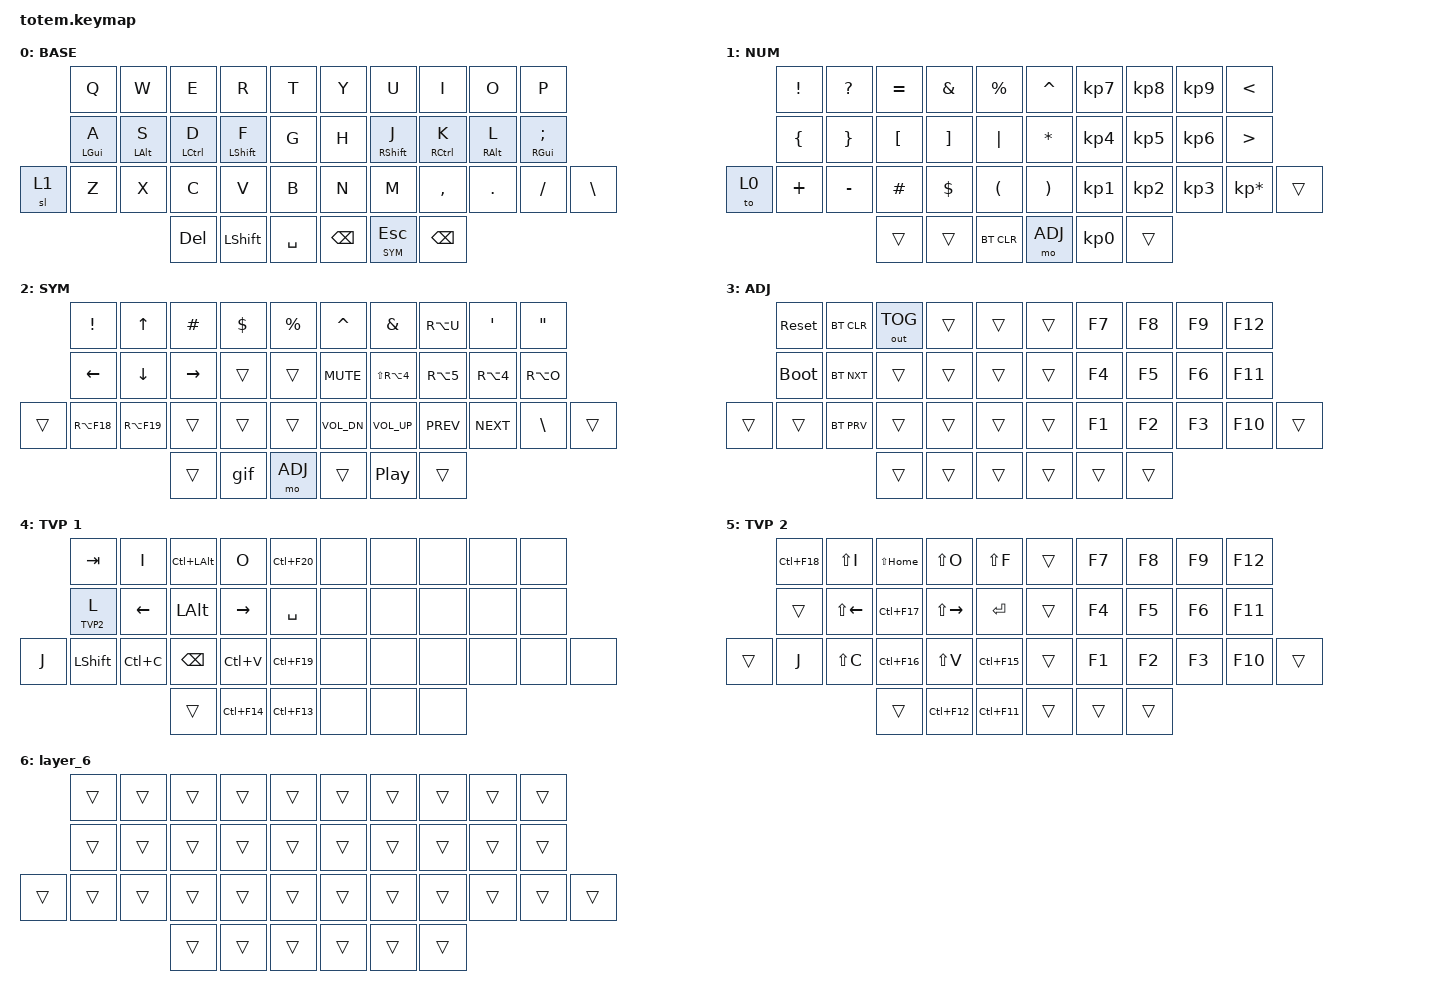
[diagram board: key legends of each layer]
//
//                                                        ▀▀▀▀▀     ▀▀▀▀▀          ▀▀█▀▀
//                                                        ▄▀▀▀▄  ▄  ▄▀▀▀▄  ▄  ▄▀▀▀▄  █  ▄▀▀▀▄
//                                                        █   █  █  █   █  █  █   █  █  █   █
//                                                         ▀▀▀   █   ▀▀▀   █   ▀▀▀   ▀   ▀▀▀
//                                                               █      ▄▄▄█▄▄▄    █   █  
//                                                               ▀      █  █  █     █▄█
//                                                             ▀▀▀▀▀    █  █  █      ▀
//                                                                      ▀  ▀  ▀
//
// ▄▄▄▄▄▄▄▄▄▄▄▄▄▄▄▄▄▄▄▄▄▄▄▄▄▄▄▄▄▄▄▄▄▄▄▄▄▄▄▄▄▄▄▄▄▄▄▄▄▄▄▄▄▄▄▄▄▄▄▄▄▄▄▄▄▄▄▄▄▄▄▄▄▄▄▄▄▄▄▄▄▄▄▄▄▄▄▄▄▄▄▄▄▄▄▄▄▄▄▄▄▄▄▄▄▄▄▄▄▄▄▄▄▄▄▄▄▄▄▄▄▄▄▄▄▄▄▄▄▄▄▄▄▄▄▄▄▄▄▄▄▄▄▄▄▄▄▄▄

#include <behaviors.dtsi>
#include <dt-bindings/zmk/bt.h>
#include <dt-bindings/zmk/keys.h>
#include <dt-bindings/zmk/outputs.h>

#define BASE 0
#define NAV  1
#define SYM  2
#define ADJ  3
#define TVP1 4
#define TVP2 5

&mt {
    quick-tap-ms = <100>;
    global-quick-tap;
    flavor = "tap-preferred";
    tapping-term-ms = <170>;
};

/ {
    combos {
        compatible = "zmk,combos";

        combo_esc {
            timeout-ms = <50>;
            key-positions = <0 1>;
            bindings = <&kp ESC>;
        };

        combo_tvp {
            timeout-ms = <100>;
            key-positions = <16 17 18>;
            bindings = <&kp ENTER>;
        };

        double_q {
            bindings = <&kp DOUBLE_QUOTES>;
            key-positions = <5 6>;
        };

        string_symbol {
            bindings = <&kp SQT>;
            key-positions = <6 7>;
        };

        tab {
            bindings = <&kp TAB>;
            key-positions = <1 2>;
        };
    };

    macros {
        gif: gif {
            label = "giphy";
            compatible = "zmk,behavior-macro";
            #binding-cells = <0>;
            bindings =
                <&macro_press>,
                <&kp LSHFT>,
                <&macro_tap>,
                <&kp N2>,
                <&macro_release>,
                <&kp LSHFT>,
                <&macro_tap>,
                <&kp G &kp I &kp F>;
        };
    };

    keymap {
        compatible = "zmk,keymap";

        // ▄▄▄▄▄▄▄▄▄▄▄▄▄▄▄▄▄▄▄▄▄▄▄▄▄▄▄▄▄▄▄▄▄▄▄▄▄▄▄▄▄▄▄▄▄▄▄▄▄▄▄▄▄▄▄▄▄▄▄▄▄▄▄▄▄▄▄▄▄▄▄▄▄▄▄▄▄▄▄▄▄▄▄▄▄▄▄▄▄▄▄▄▄▄▄▄▄▄▄▄▄▄▄▄▄▄▄▄▄▄▄▄▄▄▄▄▄▄▄▄▄▄▄▄▄▄▄▄▄▄▄▄▄▄▄▄▄▄▄▄▄▄▄▄▄▄▄▄▄

        base_layer {
            // ┏━━━━━━━━━━━━━━━━━━━━━━━━━━━━━━━━━━━━━━━┓

            label = "BASE";

            // ┗━━━━━━━━━━━━━━━━━━━━━━━━━━━━━━━━━━━━━━━┛
            //             ┏━━━━━━━━━━━┳━━━━━━━━━━━┳━━━━━━━━━━━┳━━━━━━━━━━━┳━━━━━━━━━━━┓   ┏━━━━━━━━━━━┳━━━━━━━━━━━┳━━━━━━━━━━━┳━━━━━━━━━━━┳━━━━━━━━━━━┓
            //             ┃     Q     ┃     W     ┃     F     ┃     P     ┃     G     ┃   ┃     J     ┃     L     ┃     U     ┃     Y     ┃     ;     ┃
            //             ┣━━━━━━━━━━━╋━━━━━━━━━━━╋━━━━━━━━━━━╋━━━━━━━━━━━╋━━━━━━━━━━━┫   ┣━━━━━━━━━━━╋━━━━━━━━━━━╋━━━━━━━━━━━╋━━━━━━━━━━━╋━━━━━━━━━━━┫
            //             ┃     A     ┃     R     ┃     S     ┃     T     ┃     D     ┃   ┃     H     ┃     N     ┃     E     ┃     I     ┃     O     ┃
            // ┏━━━━━━━━━━━╋━━━━━━━━━━━╋━━━━━━━━━━━╋━━━━━━━━━━━╋━━━━━━━━━━━╋━━━━━━━━━━━┫   ┣━━━━━━━━━━━╋━━━━━━━━━━━╋━━━━━━━━━━━╋━━━━━━━━━━━╋━━━━━━━━━━━╋━━━━━━━━━━━┓
            // ┃     Q     ┃     Z     ┃     X     ┃     C     ┃     V     ┃     B     ┃   ┃     K     ┃     M     ┃     ,     ┃     .     ┃     /     ┃     \     ┃
            // ┗━━━━━━━━━━━┻━━━━━━━━━━━┻━━━━━━━━━━━╋━━━━━━━━━━━╋━━━━━━━━━━━╋━━━━━━━━━━━┫   ┣━━━━━━━━━━━╋━━━━━━━━━━━╋━━━━━━━━━━━╋━━━━━━━━━━━┻━━━━━━━━━━━┻━━━━━━━━━━━┛
            //                                     ┃    DEL    ┃    TAB    ┃    SPC    ┃   ┃   ENTER   ┃           ┃   BSPC    ┃
            //                                     ┗━━━━━━━━━━━┻━━━━━━━━━━━┻━━━━━━━━━━━┛   ┗━━━━━━━━━━━┻━━━━━━━━━━━┻━━━━━━━━━━━┛

            bindings = <
       &kp Q       &kp W       &kp E        &kp R           &kp T        &kp Y          &kp U        &kp I        &kp O       &kp P
       &mt LGUI A  &mt LALT S  &mt LCTRL D  &mt LSHFT F     &kp G        &kp H          &mt RSHFT J  &mt RCTRL K  &mt RALT L  &mt RGUI SEMICOLON
&sl 1  &kp Z       &kp X       &kp C        &kp V           &kp B        &kp N          &kp M        &kp COMMA    &kp DOT     &kp FSLH            &kp BSLH
                               &kp DEL      &kp LEFT_SHIFT  &kp SPACE    &kp BACKSPACE  &lt SYM ESC  &kp BSPC
            >;
        };

        // ▄▄▄▄▄▄▄▄▄▄▄▄▄▄▄▄▄▄▄▄▄▄▄▄▄▄▄▄▄▄▄▄▄▄▄▄▄▄▄▄▄▄▄▄▄▄▄▄▄▄▄▄▄▄▄▄▄▄▄▄▄▄▄▄▄▄▄▄▄▄▄▄▄▄▄▄▄▄▄▄▄▄▄▄▄▄▄▄▄▄▄▄▄▄▄▄▄▄▄▄▄▄▄▄▄▄▄▄▄▄▄▄▄▄▄▄▄▄▄▄▄▄▄▄▄▄▄▄▄▄▄▄▄▄▄▄▄▄▄▄▄▄▄▄▄▄▄▄▄

        num_layer {
            // ┏━━━━━━━━━━━━━━━━━━━━━━━━━━━━━━━━━━━━━━━┓

            label = "NUM";

            // ┗━━━━━━━━━━━━━━━━━━━━━━━━━━━━━━━━━━━━━━━┛
            //             ┏━━━━━━━━━━━┳━━━━━━━━━━━┳━━━━━━━━━━━┳━━━━━━━━━━━┳━━━━━━━━━━━┓   ┏━━━━━━━━━━━┳━━━━━━━━━━━┳━━━━━━━━━━━┳━━━━━━━━━━━┳━━━━━━━━━━━┓
            //             ┃           ┃           ┃     UP    ┃           ┃     {     ┃   ┃     }     ┃     7     ┃     8     ┃     9     ┃     +     ┃
            //             ┣━━━━━━━━━━━╋━━━━━━━━━━━╋━━━━━━━━━━━╋━━━━━━━━━━━╋━━━━━━━━━━━┫   ┣━━━━━━━━━━━╋━━━━━━━━━━━╋━━━━━━━━━━━╋━━━━━━━━━━━╋━━━━━━━━━━━┫
            //             ┃   SHIFT   ┃   LEFT    ┃    DOWN   ┃   RIGHT   ┃     [     ┃   ┃     ]     ┃     4     ┃     5     ┃     6     ┃     -     ┃
            // ┏━━━━━━━━━━━╋━━━━━━━━━━━╋━━━━━━━━━━━╋━━━━━━━━━━━╋━━━━━━━━━━━╋━━━━━━━━━━━┫   ┣━━━━━━━━━━━╋━━━━━━━━━━━╋━━━━━━━━━━━╋━━━━━━━━━━━╋━━━━━━━━━━━╋━━━━━━━━━━━┓
            // ┃           ┃           ┃   P UP    ┃  C LOCK   ┃  P DOWN   ┃     (     ┃   ┃     )     ┃     1     ┃     2     ┃     3     ┃     *     ┃           ┃
            // ┗━━━━━━━━━━━┻━━━━━━━━━━━┻━━━━━━━━━━━╋━━━━━━━━━━━╋━━━━━━━━━━━╋━━━━━━━━━━━┫   ┣━━━━━━━━━━━╋━━━━━━━━━━━╋━━━━━━━━━━━╋━━━━━━━━━━━┻━━━━━━━━━━━┻━━━━━━━━━━━┛
            //                                     ┃           ┃    TAB    ┃    SPC    ┃   ┃    DEL    ┃     0     ┃           ┃
            //                                     ┗━━━━━━━━━━━┻━━━━━━━━━━━┻━━━━━━━━━━━┛   ┗━━━━━━━━━━━┻━━━━━━━━━━━┻━━━━━━━━━━━┛

            bindings = <
       &kp EXCLAMATION  &kp QUESTION     &kp EQUAL         &kp AMPERSAND      &kp PERCENT    &kp CARET     &kp KP_N7  &kp KP_N8  &kp KP_N9  &kp LESS_THAN
       &kp LEFT_BRACE   &kp RIGHT_BRACE  &kp LEFT_BRACKET  &kp RIGHT_BRACKET  &kp PIPE       &kp ASTERISK  &kp KP_N4  &kp KP_N5  &kp KP_N6  &kp GREATER_THAN
&to 0  &kp PLUS         &kp MINUS        &kp HASH          &kp DOLLAR         &kp LPAR       &kp RPAR      &kp KP_N1  &kp KP_N2  &kp KP_N3  &kp KP_MULTIPLY   &trans
                                         &trans            &trans             &bt BT_CLR     &mo ADJ       &kp KP_N0  &trans
            >;
        };

        // ▄▄▄▄▄▄▄▄▄▄▄▄▄▄▄▄▄▄▄▄▄▄▄▄▄▄▄▄▄▄▄▄▄▄▄▄▄▄▄▄▄▄▄▄▄▄▄▄▄▄▄▄▄▄▄▄▄▄▄▄▄▄▄▄▄▄▄▄▄▄▄▄▄▄▄▄▄▄▄▄▄▄▄▄▄▄▄▄▄▄▄▄▄▄▄▄▄▄▄▄▄▄▄▄▄▄▄▄▄▄▄▄▄▄▄▄▄▄▄▄▄▄▄▄▄▄▄▄▄▄▄▄▄▄▄▄▄▄▄▄▄▄▄▄▄▄▄▄▄

        sim_layer {
            // ┏━━━━━━━━━━━━━━━━━━━━━━━━━━━━━━━━━━━━━━━┓

            label = "SYM";

            // ┗━━━━━━━━━━━━━━━━━━━━━━━━━━━━━━━━━━━━━━━┛
            //             ┏━━━━━━━━━━━┳━━━━━━━━━━━┳━━━━━━━━━━━┳━━━━━━━━━━━┳━━━━━━━━━━━┓   ┏━━━━━━━━━━━┳━━━━━━━━━━━┳━━━━━━━━━━━┳━━━━━━━━━━━┳━━━━━━━━━━━┓
            //             ┃     !     ┃     @     ┃     #     ┃     $     ┃     %     ┃   ┃     ˆ     ┃     &     ┃     Ü     ┃     '     ┃     "     ┃
            //             ┣━━━━━━━━━━━╋━━━━━━━━━━━╋━━━━━━━━━━━╋━━━━━━━━━━━╋━━━━━━━━━━━┫   ┣━━━━━━━━━━━╋━━━━━━━━━━━╋━━━━━━━━━━━╋━━━━━━━━━━━╋━━━━━━━━━━━┫
            //             ┃     Ä     ┃           ┃    SZ     ┃           ┃           ┃   ┃   MUTE    ┃   YEN     ┃   EURO    ┃  POUND    ┃     Ö     ┃
            // ┏━━━━━━━━━━━╋━━━━━━━━━━━╋━━━━━━━━━━━╋━━━━━━━━━━━╋━━━━━━━━━━━╋━━━━━━━━━━━┫   ┣━━━━━━━━━━━╋━━━━━━━━━━━╋━━━━━━━━━━━╋━━━━━━━━━━━╋━━━━━━━━━━━╋━━━━━━━━━━━┓
            // ┃           ┃  EMAIL1   ┃  EMAIL2   ┃           ┃           ┃           ┃   ┃   VOL-    ┃   VOL+    ┃   LAST    ┃   NEXT    ┃     \     ┃           ┃
            // ┗━━━━━━━━━━━┻━━━━━━━━━━━┻━━━━━━━━━━━╋━━━━━━━━━━━╋━━━━━━━━━━━╋━━━━━━━━━━━┫   ┣━━━━━━━━━━━╋━━━━━━━━━━━╋━━━━━━━━━━━╋━━━━━━━━━━━┻━━━━━━━━━━━┻━━━━━━━━━━━┛
            //                                     ┃           ┃    GIF    ┃    ADJ    ┃   ┃           ┃           ┃           ┃
            //                                     ┗━━━━━━━━━━━┻━━━━━━━━━━━┻━━━━━━━━━━━┛   ┗━━━━━━━━━━━┻━━━━━━━━━━━┻━━━━━━━━━━━┛

            bindings = <
        &kp EXCL     &kp UP_ARROW  &kp HASH   &kp DLLR  &kp PRCNT    &kp CARET     &kp AMPS        &kp RA(U)   &kp SQT     &kp DQT
        &kp LEFT     &kp DOWN      &kp RIGHT  &trans    &trans       &kp C_MUTE    &kp LS(RA(N4))  &kp RA(N5)  &kp RA(N4)  &kp RA(O)
&trans  &kp RA(F18)  &kp RA(F19)   &trans     &trans    &trans       &kp C_VOL_DN  &kp C_VOL_UP    &kp C_PREV  &kp C_NEXT  &kp BSLH   &trans
                                   &trans     &gif      &mo ADJ      &trans        &kp C_PP        &trans
            >;
        };

        // ▄▄▄▄▄▄▄▄▄▄▄▄▄▄▄▄▄▄▄▄▄▄▄▄▄▄▄▄▄▄▄▄▄▄▄▄▄▄▄▄▄▄▄▄▄▄▄▄▄▄▄▄▄▄▄▄▄▄▄▄▄▄▄▄▄▄▄▄▄▄▄▄▄▄▄▄▄▄▄▄▄▄▄▄▄▄▄▄▄▄▄▄▄▄▄▄▄▄▄▄▄▄▄▄▄▄▄▄▄▄▄▄▄▄▄▄▄▄▄▄▄▄▄▄▄▄▄▄▄▄▄▄▄▄▄▄▄▄▄▄▄▄▄▄▄▄▄▄▄

        adjust_layer {
            // ┏━━━━━━━━━━━━━━━━━━━━━━━━━━━━━━━━━━━━━━━┓

            label = "ADJ";

            // ┗━━━━━━━━━━━━━━━━━━━━━━━━━━━━━━━━━━━━━━━┛
            //             ┏━━━━━━━━━━━┳━━━━━━━━━━━┳━━━━━━━━━━━┳━━━━━━━━━━━┳━━━━━━━━━━━┓   ┏━━━━━━━━━━━┳━━━━━━━━━━━┳━━━━━━━━━━━┳━━━━━━━━━━━┳━━━━━━━━━━━┓
            //             ┃   RESET   ┃ BT CLEAR  ┃  OUT TOG  ┃           ┃           ┃   ┃           ┃    F7     ┃    F8     ┃    F9     ┃    F12    ┃
            //             ┣━━━━━━━━━━━╋━━━━━━━━━━━╋━━━━━━━━━━━╋━━━━━━━━━━━╋━━━━━━━━━━━┫   ┣━━━━━━━━━━━╋━━━━━━━━━━━╋━━━━━━━━━━━╋━━━━━━━━━━━╋━━━━━━━━━━━┫
            //             ┃ BOOTLOAD  ┃ BT NEXT   ┃           ┃           ┃           ┃   ┃           ┃    F4     ┃    F5     ┃    F6     ┃    F11    ┃
            // ┏━━━━━━━━━━━╋━━━━━━━━━━━╋━━━━━━━━━━━╋━━━━━━━━━━━╋━━━━━━━━━━━╋━━━━━━━━━━━┫   ┣━━━━━━━━━━━╋━━━━━━━━━━━╋━━━━━━━━━━━╋━━━━━━━━━━━╋━━━━━━━━━━━╋━━━━━━━━━━━┓
            // ┃           ┃           ┃ BT PREV   ┃           ┃           ┃           ┃   ┃           ┃    F1     ┃    F2     ┃    F3     ┃    F10    ┃           ┃
            // ┗━━━━━━━━━━━┻━━━━━━━━━━━┻━━━━━━━━━━━╋━━━━━━━━━━━╋━━━━━━━━━━━╋━━━━━━━━━━━┫   ┣━━━━━━━━━━━╋━━━━━━━━━━━╋━━━━━━━━━━━╋━━━━━━━━━━━┻━━━━━━━━━━━┻━━━━━━━━━━━┛
            //                                     ┃           ┃           ┃           ┃   ┃           ┃           ┃           ┃
            //                                     ┗━━━━━━━━━━━┻━━━━━━━━━━━┻━━━━━━━━━━━┛   ┗━━━━━━━━━━━┻━━━━━━━━━━━┻━━━━━━━━━━━┛

            bindings = <
        &sys_reset   &bt BT_CLR  &out OUT_TOG  &trans  &trans    &trans  &kp F7  &kp F8  &kp F9  &kp F12
        &bootloader  &bt BT_NXT  &trans        &trans  &trans    &trans  &kp F4  &kp F5  &kp F6  &kp F11
&trans  &trans       &bt BT_PRV  &trans        &trans  &trans    &trans  &kp F1  &kp F2  &kp F3  &kp F10  &trans
                                 &trans        &trans  &trans    &trans  &trans  &trans
            >;
        };

        // ▄▄▄▄▄▄▄▄▄▄▄▄▄▄▄▄▄▄▄▄▄▄▄▄▄▄▄▄▄▄▄▄▄▄▄▄▄▄▄▄▄▄▄▄▄▄▄▄▄▄▄▄▄▄▄▄▄▄▄▄▄▄▄▄▄▄▄▄▄▄▄▄▄▄▄▄▄▄▄▄▄▄▄▄▄▄▄▄▄▄▄▄▄▄▄▄▄▄▄▄▄▄▄▄▄▄▄▄▄▄▄▄▄▄▄▄▄▄▄▄▄▄▄▄▄▄▄▄▄▄▄▄▄▄▄▄▄▄▄▄▄▄▄▄▄▄▄▄▄

        tvp1_layer {
            // ┏━━━━━━━━━━━━━━━━━━━━━━━━━━━━━━━━━━━━━━━┓

            label = "TVP 1";

            // ┗━━━━━━━━━━━━━━━━━━━━━━━━━━━━━━━━━━━━━━━┛
            //             ┏━━━━━━━━━━━┳━━━━━━━━━━━┳━━━━━━━━━━━┳━━━━━━━━━━━┳━━━━━━━━━━━┓   ┏━━━━━━━━━━━┳━━━━━━━━━━━┳━━━━━━━━━━━┳━━━━━━━━━━━┳━━━━━━━━━━━┓
            //             ┃ NEXT FILE ┃ MARK IN   ┃ ROTATE    ┃ MARK OUT  ┃ SHOW SNAP ┃   ┃           ┃           ┃           ┃           ┃           ┃
            //             ┣━━━━━━━━━━━╋━━━━━━━━━━━╋━━━━━━━━━━━╋━━━━━━━━━━━╋━━━━━━━━━━━┫   ┣━━━━━━━━━━━╋━━━━━━━━━━━╋━━━━━━━━━━━╋━━━━━━━━━━━╋━━━━━━━━━━━┫
            //             ┃ TVP II    ┃ LEFT      ┃ PAN       ┃ RIGHT     ┃ PLAY/FLIP ┃   ┃           ┃           ┃           ┃           ┃           ┃
            // ┏━━━━━━━━━━━╋━━━━━━━━━━━╋━━━━━━━━━━━╋━━━━━━━━━━━╋━━━━━━━━━━━╋━━━━━━━━━━━┫   ┣━━━━━━━━━━━╋━━━━━━━━━━━╋━━━━━━━━━━━╋━━━━━━━━━━━╋━━━━━━━━━━━╋━━━━━━━━━━━┓
            // ┃ FULLSCR   ┃ SHIFT     ┃ COPY      ┃ DELETE    ┃ PASTE     ┃ IMG MARK  ┃   ┃           ┃           ┃           ┃           ┃           ┃           ┃
            // ┗━━━━━━━━━━━┻━━━━━━━━━━━┻━━━━━━━━━━━╋━━━━━━━━━━━╋━━━━━━━━━━━╋━━━━━━━━━━━┫   ┣━━━━━━━━━━━╋━━━━━━━━━━━╋━━━━━━━━━━━╋━━━━━━━━━━━┻━━━━━━━━━━━┻━━━━━━━━━━━┛
            //                                     ┃           ┃ UNDO/SAVE ┃  SEL/MOV  ┃   ┃           ┃           ┃           ┃
            //                                     ┗━━━━━━━━━━━┻━━━━━━━━━━━┻━━━━━━━━━━━┛   ┗━━━━━━━━━━━┻━━━━━━━━━━━┻━━━━━━━━━━━┛

            bindings = <
       &kp TAB     &kp I      &kp LC(LALT)  &kp O        &kp LC(F20)    &none  &none  &none  &none  &none
       &lt TVP2 L  &kp LEFT   &kp LALT      &kp RIGHT    &kp SPACE      &none  &none  &none  &none  &none
&kp J  &kp LSHFT   &kp LC(C)  &kp BSPC      &kp LC(V)    &kp LC(F19)    &none  &none  &none  &none  &none  &none
                              &trans        &kp LC(F14)  &kp LC(F13)    &none  &none  &none
            >;
        };

        // ▄▄▄▄▄▄▄▄▄▄▄▄▄▄▄▄▄▄▄▄▄▄▄▄▄▄▄▄▄▄▄▄▄▄▄▄▄▄▄▄▄▄▄▄▄▄▄▄▄▄▄▄▄▄▄▄▄▄▄▄▄▄▄▄▄▄▄▄▄▄▄▄▄▄▄▄▄▄▄▄▄▄▄▄▄▄▄▄▄▄▄▄▄▄▄▄▄▄▄▄▄▄▄▄▄▄▄▄▄▄▄▄▄▄▄▄▄▄▄▄▄▄▄▄▄▄▄▄▄▄▄▄▄▄▄▄▄▄▄▄▄▄▄▄▄▄▄▄▄

        tvp2_layer {
            // ┏━━━━━━━━━━━━━━━━━━━━━━━━━━━━━━━━━━━━━━━┓

            label = "TVP 2";

            // ┗━━━━━━━━━━━━━━━━━━━━━━━━━━━━━━━━━━━━━━━┛
            //             ┏━━━━━━━━━━━┳━━━━━━━━━━━┳━━━━━━━━━━━┳━━━━━━━━━━━┳━━━━━━━━━━━┓   ┏━━━━━━━━━━━┳━━━━━━━━━━━┳━━━━━━━━━━━┳━━━━━━━━━━━┳━━━━━━━━━━━┓
            //             ┃ SOLO      ┃ TOGGLE IN ┃ RESET ROT ┃ TOGGLE OUT┃ TAKE SNAP ┃   ┃           ┃           ┃           ┃           ┃           ┃
            //             ┣━━━━━━━━━━━╋━━━━━━━━━━━╋━━━━━━━━━━━╋━━━━━━━━━━━╋━━━━━━━━━━━┫   ┣━━━━━━━━━━━╋━━━━━━━━━━━╋━━━━━━━━━━━╋━━━━━━━━━━━╋━━━━━━━━━━━┫
            //             ┃ ---       ┃ LAST KEY  ┃ NEW KEY   ┃ NEXT KEY  ┃ ENTER     ┃   ┃           ┃           ┃           ┃           ┃           ┃
            // ┏━━━━━━━━━━━╋━━━━━━━━━━━╋━━━━━━━━━━━╋━━━━━━━━━━━╋━━━━━━━━━━━╋━━━━━━━━━━━┫   ┣━━━━━━━━━━━╋━━━━━━━━━━━╋━━━━━━━━━━━╋━━━━━━━━━━━╋━━━━━━━━━━━╋━━━━━━━━━━━┓
            // ┃           ┃ FULLSCR   ┃ CPY2BRUSH ┃ DEL HEAD  ┃ PSTinPLACE┃ BOOK MARK ┃   ┃           ┃           ┃           ┃           ┃           ┃           ┃
            // ┗━━━━━━━━━━━┻━━━━━━━━━━━┻━━━━━━━━━━━╋━━━━━━━━━━━╋━━━━━━━━━━━╋━━━━━━━━━━━┫   ┣━━━━━━━━━━━╋━━━━━━━━━━━╋━━━━━━━━━━━╋━━━━━━━━━━━┻━━━━━━━━━━━┻━━━━━━━━━━━┛
            //                                     ┃           ┃ REDO/SAV1 ┃TRANS/WARP ┃   ┃           ┃           ┃           ┃
            //                                     ┗━━━━━━━━━━━┻━━━━━━━━━━━┻━━━━━━━━━━━┛   ┗━━━━━━━━━━━┻━━━━━━━━━━━┻━━━━━━━━━━━┛

            bindings = <
        &kp LC(F18)  &kp LS(I)     &kp LS(HOME)  &kp LS(O)      &kp LS(F)      &trans  &kp F7  &kp F8  &kp F9  &kp F12
        &trans       &kp LS(LEFT)  &kp LC(F17)   &kp LS(RIGHT)  &kp RET        &trans  &kp F4  &kp F5  &kp F6  &kp F11
&trans  &kp J        &kp LS(C)     &kp LC(F16)   &kp LS(V)      &kp LC(F15)    &trans  &kp F1  &kp F2  &kp F3  &kp F10  &trans
                                   &trans        &kp LC(F12)    &kp LC(F11)    &trans  &trans  &trans
            >;
        };

        layer_6 {
            bindings = <
        &trans  &trans  &trans  &trans  &trans    &trans  &trans  &trans  &trans  &trans
        &trans  &trans  &trans  &trans  &trans    &trans  &trans  &trans  &trans  &trans
&trans  &trans  &trans  &trans  &trans  &trans    &trans  &trans  &trans  &trans  &trans  &trans
                        &trans  &trans  &trans    &trans  &trans  &trans
            >;
        };
    };
};
